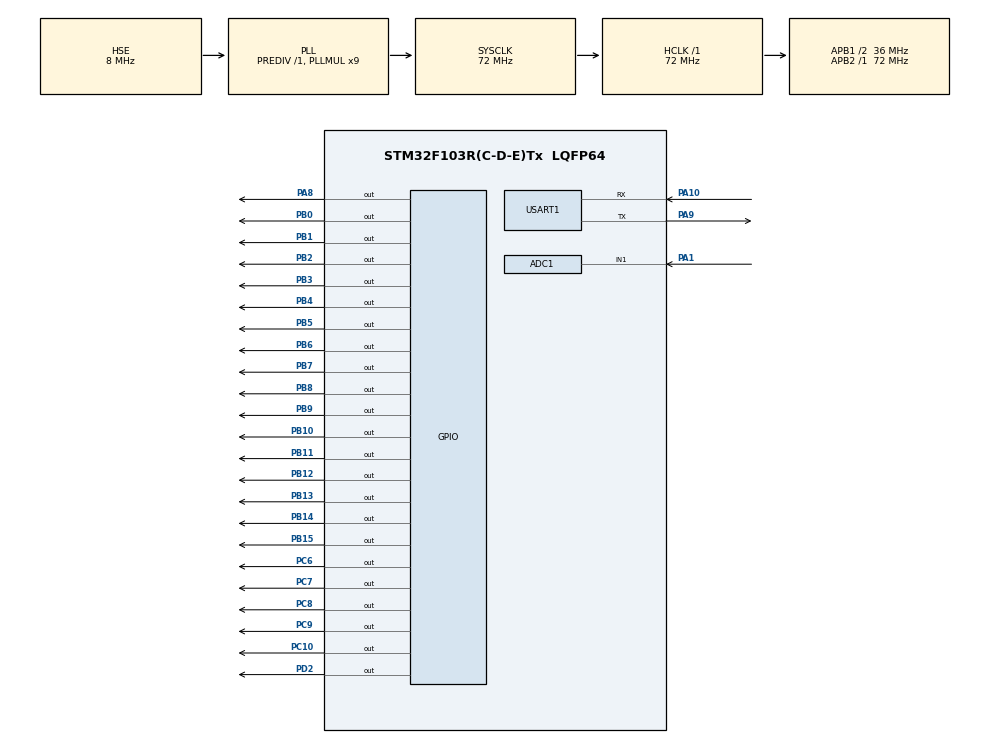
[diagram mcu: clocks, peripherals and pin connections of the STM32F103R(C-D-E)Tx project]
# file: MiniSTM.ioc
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ADC1.Channel-1\#ChannelRegularConversion=ADC_CHANNEL_1
ADC1.EnableAnalogWatchDog=false
ADC1.NbrOfConversionFlag=1
ADC1.Rank-1\#ChannelRegularConversion=1
ADC1.SamplingTime-1\#ChannelRegularConversion=ADC_SAMPLETIME_239CYCLES_5
ADC1.master=1
Mcu.Family=STM32F1
Mcu.Name=STM32F103R(C-D-E)Tx
Mcu.Package=LQFP64
NVIC.PriorityGroup=NVIC_PRIORITYGROUP_4
PA1.Signal=ADCx_IN1
PA10.Mode=Asynchronous
PA10.Signal=USART1_RX
PA13.Mode=Serial_Wire
PA13.Signal=SYS_JTMS-SWDIO
PA14.Mode=Serial_Wire
PA14.Signal=SYS_JTCK-SWCLK
PA8.GPIO_PuPd=GPIO_PULLUP
PA8.Signal=GPIO_Output
PA9.Mode=Asynchronous
PA9.Signal=USART1_TX
PB0.GPIO_PuPd=GPIO_PULLUP
PB0.GPIO_Speed=GPIO_SPEED_FREQ_HIGH
PB0.Signal=GPIO_Output
PB1.GPIO_PuPd=GPIO_PULLUP
PB1.GPIO_Speed=GPIO_SPEED_FREQ_HIGH
PB1.Signal=GPIO_Output
PB10.GPIO_PuPd=GPIO_PULLUP
PB10.GPIO_Speed=GPIO_SPEED_FREQ_HIGH
PB10.Signal=GPIO_Output
PB11.GPIO_PuPd=GPIO_PULLUP
PB11.GPIO_Speed=GPIO_SPEED_FREQ_HIGH
PB11.Signal=GPIO_Output
PB12.GPIO_PuPd=GPIO_PULLUP
PB12.GPIO_Speed=GPIO_SPEED_FREQ_HIGH
PB12.Signal=GPIO_Output
PB13.GPIO_PuPd=GPIO_PULLUP
PB13.GPIO_Speed=GPIO_SPEED_FREQ_HIGH
PB13.Signal=GPIO_Output
PB14.GPIO_PuPd=GPIO_PULLUP
PB14.GPIO_Speed=GPIO_SPEED_FREQ_HIGH
PB14.Signal=GPIO_Output
PB15.GPIO_PuPd=GPIO_PULLUP
PB15.GPIO_Speed=GPIO_SPEED_FREQ_HIGH
PB15.Signal=GPIO_Output
PB2.GPIO_PuPd=GPIO_PULLUP
PB2.GPIO_Speed=GPIO_SPEED_FREQ_HIGH
PB2.Signal=GPIO_Output
PB3.GPIO_PuPd=GPIO_PULLUP
PB3.GPIO_Speed=GPIO_SPEED_FREQ_HIGH
PB3.Signal=GPIO_Output
PB4.GPIO_PuPd=GPIO_PULLUP
PB4.GPIO_Speed=GPIO_SPEED_FREQ_HIGH
PB4.Signal=GPIO_Output
PB5.GPIO_PuPd=GPIO_PULLUP
PB5.GPIO_Speed=GPIO_SPEED_FREQ_HIGH
PB5.Signal=GPIO_Output
PB6.GPIO_PuPd=GPIO_PULLUP
PB6.GPIO_Speed=GPIO_SPEED_FREQ_HIGH
PB6.Signal=GPIO_Output
PB7.GPIO_PuPd=GPIO_PULLUP
PB7.GPIO_Speed=GPIO_SPEED_FREQ_HIGH
PB7.Signal=GPIO_Output
PB8.GPIO_PuPd=GPIO_PULLUP
PB8.GPIO_Speed=GPIO_SPEED_FREQ_HIGH
PB8.Signal=GPIO_Output
PB9.GPIO_PuPd=GPIO_PULLUP
PB9.GPIO_Speed=GPIO_SPEED_FREQ_HIGH
PB9.Signal=GPIO_Output
PC10.GPIO_PuPd=GPIO_PULLUP
PC10.GPIO_Speed=GPIO_SPEED_FREQ_HIGH
PC10.Signal=GPIO_Output
PC14-OSC32_IN.Mode=LSE-External-Oscillator
PC14-OSC32_IN.Signal=RCC_OSC32_IN
PC15-OSC32_OUT.Mode=LSE-External-Oscillator
PC15-OSC32_OUT.Signal=RCC_OSC32_OUT
PC6.GPIO_PuPd=GPIO_PULLUP
PC6.GPIO_Speed=GPIO_SPEED_FREQ_HIGH
PC6.Signal=GPIO_Output
PC7.GPIO_PuPd=GPIO_PULLUP
PC7.GPIO_Speed=GPIO_SPEED_FREQ_HIGH
PC7.Signal=GPIO_Output
PC8.GPIO_PuPd=GPIO_PULLUP
PC8.GPIO_Speed=GPIO_SPEED_FREQ_HIGH
PC8.Signal=GPIO_Output
PC9.GPIO_PuPd=GPIO_PULLUP
PC9.GPIO_Speed=GPIO_SPEED_FREQ_HIGH
PC9.Signal=GPIO_Output
PD0-OSC_IN.Mode=HSE-External-Oscillator
PD0-OSC_IN.Signal=RCC_OSC_IN
PD1-OSC_OUT.Mode=HSE-External-Oscillator
PD1-OSC_OUT.Signal=RCC_OSC_OUT
PD2.GPIO_PuPd=GPIO_PULLUP
PD2.Signal=GPIO_Output
ProjectManager.HeapSize=0x200
ProjectManager.StackSize=0x400
ProjectManager.TargetToolchain=MDK-ARM V5.32
RCC.ADCPresc=RCC_ADCPCLK2_DIV6
RCC.AHBFreq_Value=72000000
RCC.APB1CLKDivider=RCC_HCLK_DIV2
RCC.APB1Freq_Value=36000000
RCC.APB1TimFreq_Value=72000000
RCC.APB2Freq_Value=72000000
RCC.APB2TimFreq_Value=72000000
RCC.HCLKFreq_Value=72000000
RCC.PLLMUL=RCC_PLL_MUL9
RCC.PLLSourceVirtual=RCC_PLLSOURCE_HSE
RCC.SYSCLKFreq_VALUE=72000000
RCC.SYSCLKSource=RCC_SYSCLKSOURCE_PLLCLK
RCC.USBFreq_Value=72000000
SH.ADCx_IN1.0=ADC1_IN1,IN1
TIM4.AutoReloadPreload=TIM_AUTORELOAD_PRELOAD_DISABLE
TIM4.Channel-Output\ Compare1\ No\ Output=TIM_CHANNEL_1
TIM4.Period=1000
TIM4.Prescaler=8399
USART1.VirtualMode=VM_ASYNC
VP_TIM4_VS_ClockSourceITR.Mode=TriggerSource_ITR0
board=custom

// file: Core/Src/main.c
/* USER CODE BEGIN Header */
/**
 ******************************************************************************
 * @file           : main.c
 * @brief          : Main program body
 ******************************************************************************
 * @attention
 *
 * Copyright (c) 2022 STMicroelectronics.
 * All rights reserved.
 *
 * This software is licensed under terms that can be found in the LICENSE file
 * in the root directory of this software component.
 * If no LICENSE file comes with this software, it is provided AS-IS.
 *
 ******************************************************************************
 */
/* USER CODE END Header */
#include "main.h"
#include "adc.h"
#include "tim.h"
#include "usart.h"
#include "gpio.h"

/* USER CODE BEGIN Includes */
#include "led.h"
#include "lcd.h"
#include "uart.h"
#include "usmart.h"
#include "ad.h"
/* USER CODE END Includes */

void SystemClock_Config(void);

/* USER CODE BEGIN 0 */

void led_set(uint8_t sta)
{
	LED1=sta;
}

void test_fun(void(*ledset)(uint8_t),uint8_t sta)
{
	ledset(sta);
}
/* USER CODE END 0 */

int main(void)
{
  /* USER CODE BEGIN 1 */
	uint16_t adcx;
	float temp;
  /* USER CODE END 1 */

  /* MCU Configuration--------------------------------------------------------*/

  /* Reset of all peripherals, Initializes the Flash interface and the Systick. */
  HAL_Init();

  /* Configure the system clock */
  SystemClock_Config();

  /* Initialize all configured peripherals */
  MX_GPIO_Init();
  MX_USART1_UART_Init();
  MX_TIM4_Init();
  MX_ADC1_Init();
  /* USER CODE BEGIN 2 */
	LCD_Init();

  HAL_NVIC_EnableIRQ(TIM4_IRQn);
	HAL_NVIC_SetPriority(TIM4_IRQn,9,0);
	HAL_TIM_Base_Start_IT(&htim4);

	HAL_NVIC_EnableIRQ(USART1_IRQn);
	HAL_NVIC_SetPriority(USART1_IRQn,9,0);
	HAL_UART_Receive_IT(&huart1, (uint8_t *)aRxBuffer, RXBUFFERSIZE);

	HAL_ADCEx_Calibration_Start(&hadc1);

	POINT_COLOR=RED;
	LCD_ShowString(30,50,200,16,16,"Mini STM32");
	LCD_ShowString(30,70,200,16,16,"ADC TEST");
	LCD_ShowString(30,90,200,16,16,"ATOM@ALIENTEK");
	LCD_ShowString(30,110,200,16,16,"2019/11/15");
	POINT_COLOR=BLUE;
	LCD_ShowString(30,130,200,16,16,"ADC1_CH1_VAL:");
	LCD_ShowString(30,150,200,16,16,"ADC1_CH1_VOL:0.000V");
  /* USER CODE END 2 */

  /* Infinite loop */
  /* USER CODE BEGIN WHILE */
	while (1)
	{
    adcx=Get_Adc_Average(ADC_CHANNEL_1,20);
		LCD_ShowxNum(134,130,adcx,4,16,0);
		temp=(float)adcx*(3.3/4096);
		adcx=temp;
		LCD_ShowxNum(134,150,adcx,1,16,0);
		temp-=adcx;
		temp*=1000;
		LCD_ShowxNum(150,150,temp,3,16,0X80);
		LED0=!LED0;
		HAL_Delay(250);
    /* USER CODE END WHILE */

	}
}

void SystemClock_Config(void)
{
  RCC_OscInitTypeDef RCC_OscInitStruct = {0};
  RCC_ClkInitTypeDef RCC_ClkInitStruct = {0};
  RCC_PeriphCLKInitTypeDef PeriphClkInit = {0};

  /** Initializes the RCC Oscillators according to the specified parameters
  * in the RCC_OscInitTypeDef structure.
  */
  RCC_OscInitStruct.OscillatorType = RCC_OSCILLATORTYPE_HSE;
  RCC_OscInitStruct.HSEState = RCC_HSE_ON;
  RCC_OscInitStruct.HSEPredivValue = RCC_HSE_PREDIV_DIV1;
  RCC_OscInitStruct.HSIState = RCC_HSI_ON;
  RCC_OscInitStruct.PLL.PLLState = RCC_PLL_ON;
  RCC_OscInitStruct.PLL.PLLSource = RCC_PLLSOURCE_HSE;
  RCC_OscInitStruct.PLL.PLLMUL = RCC_PLL_MUL9;
  if (HAL_RCC_OscConfig(&RCC_OscInitStruct) != HAL_OK)
  {
    Error_Handler();
  }

  /** Initializes the CPU, AHB and APB buses clocks
  */
  RCC_ClkInitStruct.ClockType = RCC_CLOCKTYPE_HCLK|RCC_CLOCKTYPE_SYSCLK
                              |RCC_CLOCKTYPE_PCLK1|RCC_CLOCKTYPE_PCLK2;
  RCC_ClkInitStruct.SYSCLKSource = RCC_SYSCLKSOURCE_PLLCLK;
  RCC_ClkInitStruct.AHBCLKDivider = RCC_SYSCLK_DIV1;
  RCC_ClkInitStruct.APB1CLKDivider = RCC_HCLK_DIV2;
  RCC_ClkInitStruct.APB2CLKDivider = RCC_HCLK_DIV1;

  if (HAL_RCC_ClockConfig(&RCC_ClkInitStruct, FLASH_LATENCY_2) != HAL_OK)
  {
    Error_Handler();
  }
  PeriphClkInit.PeriphClockSelection = RCC_PERIPHCLK_ADC;
  PeriphClkInit.AdcClockSelection = RCC_ADCPCLK2_DIV6;
  if (HAL_RCCEx_PeriphCLKConfig(&PeriphClkInit) != HAL_OK)
  {
    Error_Handler();
  }
}

void Error_Handler(void)
{
	__disable_irq();
	while (1)
	{
	}
}
